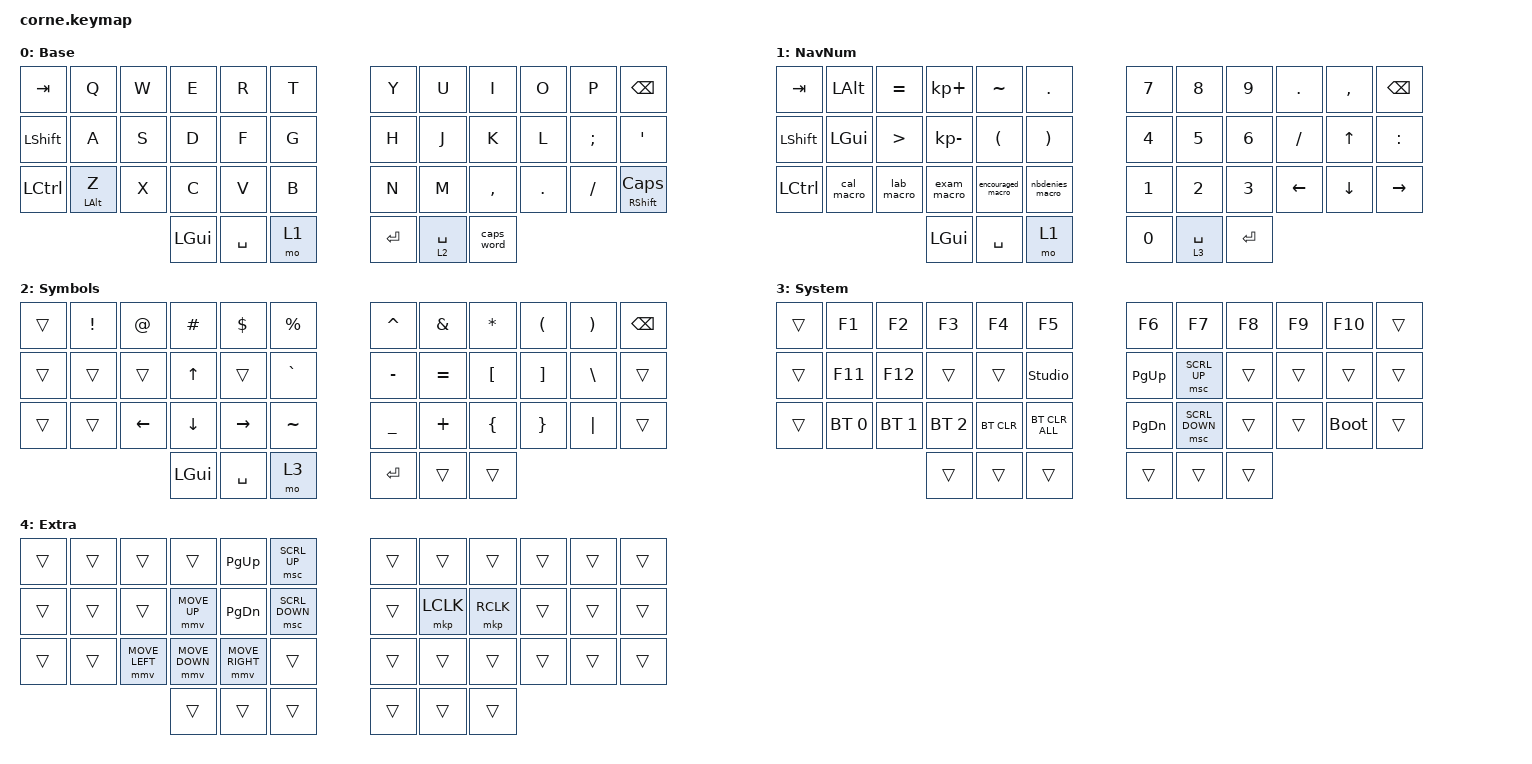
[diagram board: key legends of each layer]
#include <behaviors.dtsi>
#include <dt-bindings/zmk/bt.h>
#include <dt-bindings/zmk/keys.h>
#include <dt-bindings/zmk/pointing.h>

#define DEF 0
#define NAV 1
#define SYM 2
#define ADJ 3
#define EXTRA 4

&lt { tapping-term-ms = <150>; };

/ {
    behaviors {
        hm: homerow_mods {
            compatible = "zmk,behavior-hold-tap";
            #binding-cells = <2>;
            tapping-term-ms = <200>;
            flavor = "tap-preferred";
            bindings = <&kp>, <&kp>;

            quick-tap-ms = <180>;
            require-prior-idle-ms = <120>; /* tune to taste */
        };

        para: para {
            compatible = "zmk,behavior-tap-dance";
            #binding-cells = <0>;
            bindings = <&kp LEFT_PARENTHESIS>, <&kp RIGHT_PARENTHESIS>;
        };

        caps: caps {
            compatible = "zmk,behavior-caps-word";
            #binding-cells = <0>;
            continue-list = <MINUS BACKSPACE>;
        };

        paraless: paraless {
            compatible = "zmk,behavior-mod-morph";
            bindings = <&kp LEFT_PARENTHESIS>, <&kp LESS_THAN>;

            #binding-cells = <0>;
            mods = <(MOD_LSFT)>;
        };

        paragreat: paragreat {
            compatible = "zmk,behavior-mod-morph";
            bindings = <&kp RIGHT_PARENTHESIS>, <&kp GREATER_THAN>;

            #binding-cells = <0>;
            mods = <(MOD_LSFT)>;
        };
    };

    macros {
        nbdenies_macro: nbdenies_macro {
            compatible = "zmk,behavior-macro";
            #binding-cells = <0>;
            bindings = <&kp DOT &kp N &kp B &kp D &kp E &kp N &kp I &kp E &kp S>;
            label = "NBDENIES_MACRO";
        };

        encouraged_macro: encouraged_macro {
            compatible = "zmk,behavior-macro";
            #binding-cells = <0>;
            bindings = <&kp DOT &kp N &kp A &kp B &kp E &kp N &kp C &kp O &kp U &kp R &kp A &kp G &kp E &kp D>;
            label = "ENCOURAGED_MACRO";
        };

        lab_macro: lab_macro {
            compatible = "zmk,behavior-macro";
            #binding-cells = <0>;
            bindings = <&kp DOT &kp N &kp A &kp B &kp L &kp A &kp B>;
            label = "LAB_MACRO";
        };

        exam_macro: exam_macro {
            compatible = "zmk,behavior-macro";
            #binding-cells = <0>;
            bindings = <&kp DOT &kp N &kp A &kp B &kp E &kp X &kp A &kp M>;
            label = "EXAM_MACRO";
        };

        cal_macro: cal_macro {
            compatible = "zmk,behavior-macro";
            #binding-cells = <0>;
            bindings = <&kp DOT &kp P &kp T &kp C &kp A &kp L &kp LBKT &kp N3 &kp STAR>;
            label = "CAL_MACRO";
        };
    };

    combos {
        compatible = "zmk,combos";

        escape {
            bindings = <&kp ESCAPE>;
            key-positions = <13 29>;
        };

        delete {
            bindings = <&kp DELETE>;
            key-positions = <15 21>;
        };

        perc {
            bindings = <&kp PERCENT>;
            key-positions = <5 17>;
            layers = <0>;
        };

        equal {
            bindings = <&kp EQUAL>;
            key-positions = <28 16>;
            layers = <0>;
        };

        at {
            bindings = <&kp AT>;
            key-positions = <2 14>;
            layers = <0>;
        };

        star {
            bindings = <&kp STAR>;
            key-positions = <8 20>;
            layers = <0>;
        };

        plus {
            bindings = <&kp PLUS>;
            key-positions = <7 19>;
            layers = <0>;
        };

        underscore {
            bindings = <&kp UNDER>;
            key-positions = <30 18>;
            layers = <0>;
        };

        Layer1toggle {
            bindings = <&tog 1>;
            key-positions = <38 37>;
        };

        slash {
            bindings = <&kp SLASH>;
            key-positions = <20 19>;
            layers = <0>;
        };

        dash {
            bindings = <&kp KP_MINUS>;
            key-positions = <16 15>;
        };

        RCarrot {
            bindings = <&kp GREATER_THAN>;
            key-positions = <27 28>;
        };

        Lparenth {
            bindings = <&kp LEFT_PARENTHESIS>;
            key-positions = <16 17>;
        };

        Rparenth {
            bindings = <&kp RIGHT_PARENTHESIS>;
            key-positions = <18 19>;
        };
    };

    //

    keymap {
        compatible = "zmk,keymap";

        DEF {
            display-name = "Base";

            // -----------------------------------------------------------------------------------------
            // |  Q  |  W  |  E  |  R  |  T  |   |  Y  |  U   |  I  |  O  |  P  |
            // |  A  |  S  |  D  |  F  |  G  |   |  H  |  J   |  K  |  L  |  ;  |
            // |  Z  |  X  |  C  |  V  |  B  |   |  N  |  M   |  ,  |  .  |  /  |
            // | GUI | CTRL | SHFT | LWR | SPC |   | ENT | RSE  | BKSP | ALT | ESC |

            bindings = <
&kp TAB    &kp Q           &kp W  &kp E     &kp R      &kp T    &kp Y    &kp U        &kp I       &kp O    &kp P     &kp BACKSPACE
&kp LSHFT  &kp A           &kp S  &kp D     &kp F      &kp G    &kp H    &kp J        &kp K       &kp L    &kp SEMI  &kp SQT
&kp LCTRL  &mt LEFT_ALT Z  &kp X  &kp C     &kp V      &kp B    &kp N    &kp M        &kp COMMA   &kp DOT  &kp FSLH  &mt RIGHT_SHIFT CAPSLOCK
                                  &kp LGUI  &kp SPACE  &mo 1    &kp RET  &lt 2 SPACE  &caps_word
            >;
        };

        NAV {
            display-name = "NavNum";

            // -----------------------------------------------------------------------------------------
            // |  TAB |  1  |  2  |  3  |  4  |  5  |   |  6  |  7  |  8  |  9  |  0  | BKSP |
            // | BTCLR| BT1 | BT2 | BT3 | BT4 | BT5 |   | LFT | DWN |  UP | RGT |     |      |
            // | SHFT |     |     |     |     |     |   |     |     |     |     |     |      |
            // | GUI | CTRL | SHFT | LWR | SPC |   | ENT | RSE  | BKSP | ALT | ESC |

            bindings = <
&kp TAB           &kp LEFT_ALT  &kp EQUAL         &kp KP_PLUS   &kp TILDE             &kp PERIOD               &kp NUMBER_7  &kp N8        &kp NUMBER_9  &kp PERIOD      &kp COMMA     &kp BACKSPACE
&kp LEFT_SHIFT    &kp LEFT_GUI  &kp GREATER_THAN  &kp KP_MINUS  &kp LEFT_PARENTHESIS  &kp RIGHT_PARENTHESIS    &kp NUMBER_4  &kp NUMBER_5  &kp NUMBER_6  &kp SLASH       &kp UP_ARROW  &kp COLON
&kp LEFT_CONTROL  &cal_macro    &lab_macro        &exam_macro   &encouraged_macro     &nbdenies_macro          &kp NUMBER_1  &kp NUMBER_2  &kp NUMBER_3  &kp LEFT_ARROW  &kp DOWN      &kp RIGHT
                                                  &kp LGUI      &kp SPACE             &mo 1                    &kp N0        &lt 3 SPACE   &kp RET
            >;
        };

        SYM {
            display-name = "Symbols";

            // -----------------------------------------------------------------------------------------
            // |  TAB |  !  |  @  |  #  |  $  |  %  |   |  ^  |  &  |  *  |  (  |  )  | BKSP |
            // | CTRL |     |     |     |     |     |   |  -  |  =  |  [  |  ]  |  \  |  `   |
            // | SHFT |     |     |     |     |     |   |  _  |  +  |  {  |  }  | "|" |  ~   |
            //                    | GUI |     | SPC |   | ENT |     | ALT |

            bindings = <
&trans  &kp EXCL  &kp AT          &kp HASH        &kp DLLR         &kp PRCNT    &kp CARET  &kp AMPS   &kp ASTRK  &kp LEFT_PARENTHESIS  &kp RPAR  &kp BACKSPACE
&trans  &trans    &trans          &kp UP_ARROW    &trans           &kp GRAVE    &kp MINUS  &kp EQUAL  &kp LBKT   &kp RBKT              &kp BSLH  &trans
&trans  &trans    &kp LEFT_ARROW  &kp DOWN_ARROW  &kp RIGHT_ARROW  &kp TILDE    &kp UNDER  &kp PLUS   &kp LBRC   &kp RBRC              &kp PIPE  &trans
                                  &kp LGUI        &kp SPACE        &mo 3        &kp RET    &trans     &trans
            >;
        };

        ADJ {
            display-name = "System";
            bindings = <
&trans  &kp F1        &kp F2        &kp F3        &kp F4      &kp F5            &kp F6         &kp F7          &kp F8  &kp F9  &kp F10      &trans
&trans  &kp F11       &kp F12       &trans        &trans      &studio_unlock    &kp PG_UP      &msc SCRL_UP    &trans  &trans  &trans       &trans
&trans  &bt BT_SEL 0  &bt BT_SEL 1  &bt BT_SEL 2  &bt BT_CLR  &bt BT_CLR_ALL    &kp PAGE_DOWN  &msc SCRL_DOWN  &trans  &trans  &bootloader  &trans
                                    &trans        &trans      &trans            &trans         &trans          &trans
            >;
        };

        EXTRA {
            display-name = "Extra";
            bindings = <
&trans  &trans  &trans          &trans          &kp PAGE_UP      &msc SCRL_UP      &trans  &trans     &trans     &trans  &trans  &trans
&trans  &trans  &trans          &mmv MOVE_UP    &kp PAGE_DOWN    &msc SCRL_DOWN    &trans  &mkp LCLK  &mkp RCLK  &trans  &trans  &trans
&trans  &trans  &mmv MOVE_LEFT  &mmv MOVE_DOWN  &mmv MOVE_RIGHT  &trans            &trans  &trans     &trans     &trans  &trans  &trans
                                &trans          &trans           &trans            &trans  &trans     &trans
            >;
        };
    };
};
